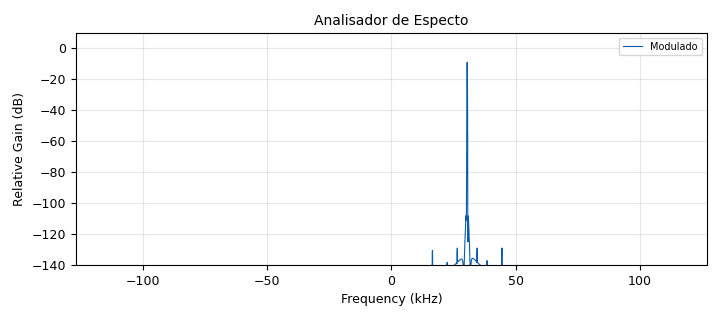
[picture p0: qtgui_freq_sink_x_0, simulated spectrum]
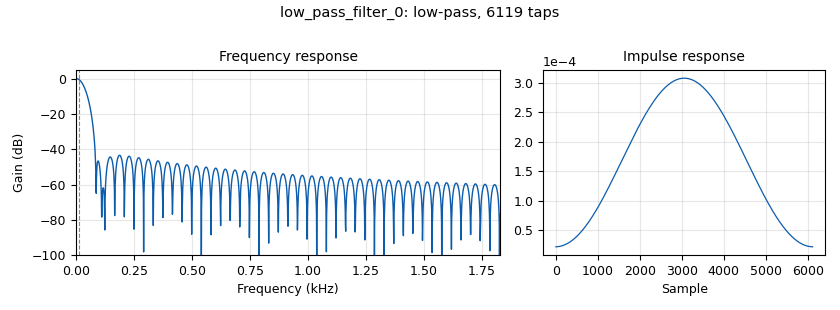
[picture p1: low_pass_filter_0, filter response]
options:
  parameters:
    author: pedro
    generate_options: qt_gui
    id: m180108140_Exp05_AR01
    output_language: python
    title: AR01
  states: {}

blocks:
- name: Am
  id: variable_qtgui_range
  parameters:
    orient: Qt.Horizontal
    start: '0'
    step: '0.25'
    stop: '10'
    value: '0.5'
  states: {}
- name: f_corte
  id: variable_qtgui_range
  parameters:
    orient: Qt.Horizontal
    start: '0'
    step: '5'
    stop: '50000'
    value: '10'
  states: {}
- name: fm
  id: variable_qtgui_range
  parameters:
    orient: Qt.Horizontal
    start: '0'
    step: '10'
    stop: '1000'
    value: '10'
  states: {}
- name: offset
  id: variable_qtgui_range
  parameters:
    orient: Qt.Horizontal
    start: '0'
    step: '0.25'
    stop: '5'
    value: '0.25'
  states: {}
- name: pi
  id: variable
  parameters:
    value: '3.141592654'
  states: {}
- name: samp_rate
  id: variable
  parameters:
    value: '254000'
  states: {}
- name: analog_sig_source_x_0
  id: analog_sig_source_x
  parameters:
    amp: Am
    freq: fm
    offset: '-offset'
    phase: '0'
    samp_rate: samp_rate
    type: float
    waveform: analog.GR_SQR_WAVE
  states: {}
- name: analog_sig_source_x_0_0
  id: analog_sig_source_x
  parameters:
    amp: '1'
    freq: '30000'
    offset: '0'
    phase: '0'
    samp_rate: samp_rate
    type: complex
    waveform: analog.GR_COS_WAVE
  states: {}
- name: blocks_float_to_complex_0
  id: blocks_float_to_complex
  parameters: {}
  states: {state: disabled}
- name: blocks_multiply_xx_0
  id: blocks_multiply_xx
  parameters:
    type: complex
  states: {}
- name: blocks_multiply_xx_0_0
  id: blocks_multiply_xx
  parameters:
    type: float
  states: {}
- name: blocks_multiply_xx_0_0_0
  id: blocks_multiply_xx
  parameters:
    type: float
  states: {}
- name: blocks_rms_xx_0
  id: blocks_rms_xx
  parameters:
    alpha: '0.0001'
    type: float
  states: {}
- name: blocks_rms_xx_0_0
  id: blocks_rms_xx
  parameters:
    alpha: '0.0001'
    type: float
  states: {}
- name: blocks_throttle_0
  id: blocks_throttle
  parameters:
    samples_per_second: samp_rate
    type: float
  states: {}
- name: blocks_throttle_0_0
  id: blocks_throttle
  parameters:
    samples_per_second: samp_rate
    type: complex
  states: {}
- name: blocks_vco_c_0
  id: blocks_vco_c
  parameters:
    amplitude: '1'
    samp_rate: samp_rate
    sensitivity: 4000*pi
  states: {}
- name: low_pass_filter_0
  id: low_pass_filter
  parameters:
    cutoff_freq: f_corte
    decim: '1'
    gain: '1'
    samp_rate: samp_rate
    type: fir_filter_fff
    width: '100'
    win: firdes.WIN_HAMMING
  states: {}
- name: qtgui_freq_sink_x_0
  id: qtgui_freq_sink_x
  parameters:
    bw: samp_rate
    ctrlpanel: 'True'
    fc: '0'
    fftsize: '4096'
    grid: 'True'
    label1: Modulado
    name: Analisador de Especto
    type: complex
    wintype: firdes.WIN_BLACKMAN_hARRIS
  states: {}
- name: qtgui_number_sink_0
  id: qtgui_number_sink
  parameters:
    graph_type: qtgui.NUM_GRAPH_HORIZ
    name: Potência
    type: float
  states: {}
- name: qtgui_number_sink_0_0
  id: qtgui_number_sink
  parameters:
    graph_type: qtgui.NUM_GRAPH_HORIZ
    name: Pot 98%
    type: float
  states: {}
- name: qtgui_time_sink_x_0
  id: qtgui_time_sink_x
  parameters:
    ctrlpanel: 'True'
    grid: 'True'
    label1: Re{Modulado}
    label2: Im{Modulado}
    name: Osciloscópio
    size: '4096'
    srate: samp_rate
    tr_mode: qtgui.TRIG_MODE_AUTO
    type: complex
    yunit: V
  states: {state: disabled}
- name: qtgui_waterfall_sink_x_0
  id: qtgui_waterfall_sink_x
  parameters:
    bw: samp_rate
    fc: '0'
    fftsize: '1024'
    label1: Modulado
    name: Espectrograma
    type: complex
    wintype: firdes.WIN_BLACKMAN_hARRIS
  states: {state: disabled}

connections:
- [analog_sig_source_x_0, '0', blocks_throttle_0, '0']
- [analog_sig_source_x_0_0, '0', blocks_throttle_0_0, '0']
- [blocks_multiply_xx_0, '0', qtgui_freq_sink_x_0, '0']
- [blocks_multiply_xx_0, '0', qtgui_time_sink_x_0, '0']
- [blocks_multiply_xx_0, '0', qtgui_waterfall_sink_x_0, '0']
- [blocks_multiply_xx_0_0, '0', qtgui_number_sink_0, '0']
- [blocks_multiply_xx_0_0_0, '0', qtgui_number_sink_0_0, '0']
- [blocks_rms_xx_0, '0', blocks_multiply_xx_0_0, '0']
- [blocks_rms_xx_0, '0', blocks_multiply_xx_0_0, '1']
- [blocks_rms_xx_0_0, '0', blocks_multiply_xx_0_0_0, '0']
- [blocks_rms_xx_0_0, '0', blocks_multiply_xx_0_0_0, '1']
- [blocks_throttle_0, '0', blocks_float_to_complex_0, '0']
- [blocks_throttle_0, '0', blocks_rms_xx_0, '0']
- [blocks_throttle_0, '0', blocks_vco_c_0, '0']
- [blocks_throttle_0, '0', low_pass_filter_0, '0']
- [blocks_throttle_0_0, '0', blocks_multiply_xx_0, '1']
- [blocks_vco_c_0, '0', blocks_multiply_xx_0, '0']
- [low_pass_filter_0, '0', blocks_rms_xx_0_0, '0']

metadata:
  file_format: 1
